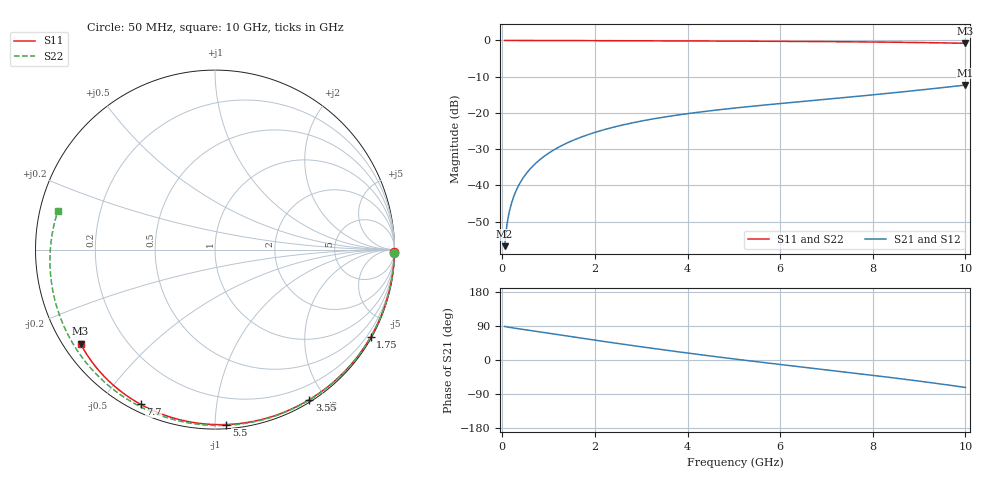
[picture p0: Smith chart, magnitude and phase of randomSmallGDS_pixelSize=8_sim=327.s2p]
! freq	dB(S11)	phase(S11)	dB(S12)	phase(S12)
!  dB(S21)	phase(S21)	dB(S22)	phase(S22)
!S-par simulation data
#  GHz  S  DB  R 50
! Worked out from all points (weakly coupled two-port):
!   200 points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, 50 MHz to 10 GHz, reference 50 ohm
!   highest |S21| = -12.31 dB at 10 GHz (marker M1); lowest = -56.8 dB at 50 MHz (marker M2)
!   lowest |S11| = -0.8 dB at 10 GHz (marker M3), VSWR 22.41, Z = 2.45 - j15.7 ohm
!   |S11| at or under -10 dB: nowhere
!   |S22| runs from -0.9 to 0.0 dB; largest |S21 - S12| = 0
!   S11 on the Smith chart (normalised r, x): 50 MHz: open; 1.75 GHz: 0.04, -3.83; 3.55 GHz: 0.03, -1.81; 5.5 GHz: 0.03, -1.07; 7.7 GHz: 0.03, -0.63; 10 GHz: 0.05, -0.31
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0.05  -0.00 -0.9  -56.76 88.6  -56.76 88.6  -0.00 -1.1
0.1  -0.00 -1.7  -50.79 87.3  -50.79 87.3  -0.00 -2.1
0.15  -0.00 -2.6  -47.32 86.2  -47.32 86.2  -0.00 -3.2
0.2  -0.00 -3.4  -44.87 85.2  -44.87 85.2  -0.00 -4.3
0.25  -0.00 -4.3  -42.96 84.3  -42.96 84.3  -0.00 -5.3
0.35  -0.01 -6.0  -40.09 82.5  -40.09 82.5  -0.01 -7.4
0.5  -0.01 -8.5  -37.03 79.8  -37.03 79.8  -0.01 -10.6
0.7  -0.02 -11.9  -34.15 76.2  -34.15 76.2  -0.02 -14.8
1  -0.02 -16.9  -31.11 70.7  -31.11 70.7  -0.03 -21.1
1.35  -0.03 -22.7  -28.59 64.2  -28.59 64.2  -0.04 -28.4
1.75  -0.05 -29.3  -26.45 56.9  -26.45 56.9  -0.06 -36.6
2.6  -0.07 -43.0  -23.32 41.8  -23.32 41.8  -0.09 -53.6
3.4  -0.10 -55.5  -21.34 28.2  -21.34 28.2  -0.12 -69.2
3.55  -0.11 -57.8  -21.03 25.7  -21.03 25.7  -0.13 -72.0
4.3  -0.14 -69.1  -19.70 13.6  -19.70 13.6  -0.17 -86.0
5.05  -0.18 -79.9  -18.61 2.1  -18.61 2.1  -0.21 -99.7
5.5  -0.20 -86.3  -18.02 -4.6  -18.02 -4.6  -0.24 -107.7
6.7  -0.29 -102.6  -16.58 -21.8  -16.58 -21.8  -0.34 -129.0
7.7  -0.39 -115.7  -15.38 -36.1  -15.38 -36.1  -0.46 -147.1
8.35  -0.47 -124.0  -14.56 -45.7  -14.56 -45.7  -0.55 -159.3
9.2  -0.61 -134.8  -13.44 -58.9  -13.44 -58.9  -0.71 -176.3
10  -0.78 -145.0  -12.31 -72.5  -12.31 -72.5  -0.90 166.1
